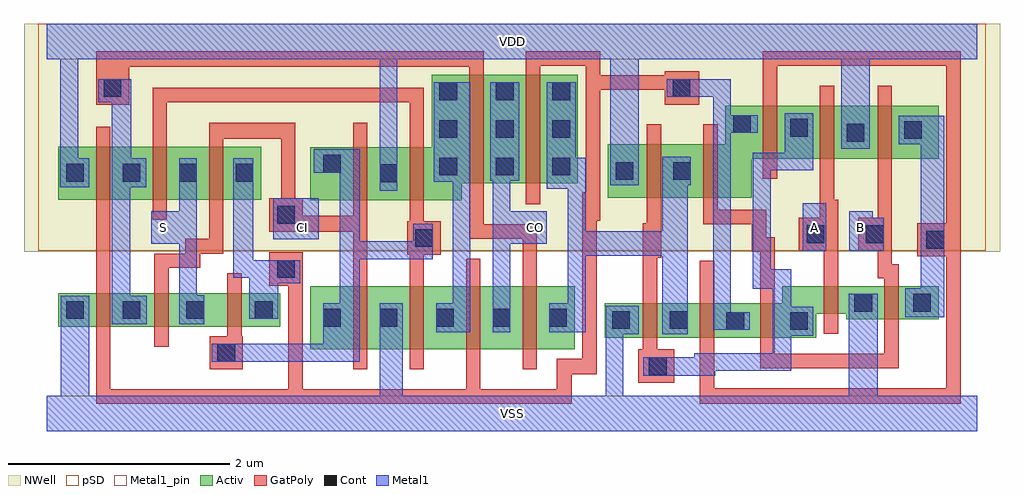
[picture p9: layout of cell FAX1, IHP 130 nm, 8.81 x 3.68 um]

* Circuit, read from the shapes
.subckt FAX1 A B CI CO S VDD VSS
XM1 n1 n2 VSS VSUBS sg13_lv_nmos w=0.3u l=0.13u
XM2 S CI n1 VSUBS sg13_lv_nmos w=0.3u l=0.13u
XM3 n2 n3 S VSUBS sg13_lv_nmos w=0.3u l=0.13u
XM4 VSS CI n3 VSUBS sg13_lv_nmos w=0.57u l=0.13u
XM5 n4 n3 VSS VSUBS sg13_lv_nmos w=0.57u l=0.13u
XM6 CO n2 n4 VSUBS sg13_lv_nmos w=0.57u l=0.13u
XM7 n5 n1 CO VSUBS sg13_lv_nmos w=0.57u l=0.13u
XM8 n5 n6 VSS VSUBS sg13_lv_nmos w=0.31u l=0.13u
XM9 n2 n7 n5 VSUBS sg13_lv_nmos w=0.31u l=0.13u
XM10 n6 B n2 VSUBS sg13_lv_nmos w=0.31u l=0.13u
XM11 VSS A n6 VSUBS sg13_lv_nmos w=0.25u l=0.13u
XM12 n7 B VSS VSUBS sg13_lv_nmos w=0.3u l=0.13u
XM13 n1 n2 VDD n8 sg13_lv_pmos w=0.48u l=0.13u
XM14 S n3 n1 n8 sg13_lv_pmos w=0.48u l=0.13u
XM15 n2 CI S n8 sg13_lv_pmos w=0.48u l=0.13u
XM16 VDD CI n3 n8 sg13_lv_pmos w=0.48u l=0.13u
XM17 n4 n3 VDD n8 sg13_lv_pmos w=0.48u l=0.13u
XM18 CO n1 n4 n8 sg13_lv_pmos w=0.98u l=0.13u
XM19 n5 n2 CO n8 sg13_lv_pmos w=0.98u l=0.13u
XM20 n5 n6 VDD n8 sg13_lv_pmos w=0.48u l=0.13u
XM21 n2 B n5 n8 sg13_lv_pmos w=0.48u l=0.13u
XM22 n6 n7 n2 n8 sg13_lv_pmos w=0.48u l=0.13u
XM23 VDD A n6 n8 sg13_lv_pmos w=0.48u l=0.13u
XM24 n7 B VDD n8 sg13_lv_pmos w=0.48u l=0.13u
.ends

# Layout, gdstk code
import gdstk
lib = gdstk.Library(unit=1e-6, precision=1e-09)
def R(c, l, rs):  # rectangles x0, y0, x1, y1
    for r in rs: c.add(gdstk.rectangle(r[:2], r[2:], *l))
def A(c, l, x, y, w, h, nx, ny, dx, dy):  # array of equal rectangles
    R(c, l, [(x+i*dx, y+j*dy, x+i*dx+w, y+j*dy+h) for i in range(nx) for j in range(ny)])
def P(c, l, *ps):  # polygons
    for p in ps: c.add(gdstk.Polygon(p, *l))
Activ = (1, 0)
GatPoly = (5, 0)
Cont = (6, 0)
Metal1 = (8, 0)
Metal1_pin = (8, 2)
pSD = (14, 0)
NWell = (31, 0)

fax1 = lib.new_cell('FAX1')
R(fax1, Activ, [(2.38,0.58,4.765,1.15), (0.105,0.785,2.11,1.085), (0.105,1.93,1.935,2.41)])
P(fax1, Activ, [(8.05,1.15),(6.64,1.15),(6.64,0.995),(5.035,0.995),(5.035,0.685),(6.945,0.685),(6.945,0.9),(7.215,0.9),(7.215,0.85),(8.05,0.85)],
  [(8.05,2.78),(6.125,2.78),(6.125,2.43),(5.065,2.43),(5.065,1.95),(6.365,1.95),(6.365,2.3),(8.05,2.3)],
  [(4.795,3.06),(3.475,3.06),(3.475,2.405),(2.38,2.405),(2.38,1.925),(3.745,1.925),(3.745,2.08),(4.795,2.08)])
P(fax1, GatPoly, [(8.25,3.27),(6.465,3.27),(6.465,2.12),(6.595,2.12),(6.595,3.14),(8.12,3.14),(8.12,1.72),(7.86,1.72),(7.86,1.42),(8.12,1.42),(8.12,0.23),(6.025,0.23),(6.025,1.38),(5.895,1.38),(5.895,0.09),(8.25,0.09)],
  [(7.69,1.35),(7.63,1.35),(7.63,2.96),(7.5,2.96),(7.5,1.77),(7.325,1.77),(7.325,1.47),(7.5,1.47),(7.5,1.22),(7.56,1.22),(7.56,0.54),(6.57,0.54),(6.57,1.59),(6.495,1.59),(6.495,1.84),(6.055,1.84),(6.055,2.61),(5.925,2.61),(5.925,1.71),(6.365,1.71),(6.365,1.46),(6.44,1.46),(6.44,0.41),(7.69,0.41)],
  [(7.145,1.93),(7.11,1.93),(7.11,2.96),(6.98,2.96),(6.98,1.77),(6.79,1.77),(6.79,1.47),(7.015,1.47),(7.015,0.72),(7.145,0.72)],
  [(5.89,3.09),(5.58,3.09),(5.58,3.055),(4.995,3.055),(4.995,3.27),(4.325,3.27),(4.325,1.89),(4.455,1.89),(4.455,3.14),(4.865,3.14),(4.865,2),(4.835,2),(4.835,0.495),(4.605,0.495),(4.605,0.22),(3.915,0.22),(3.915,1.4),(3.785,1.4),(3.785,0.22),(2.31,0.22),(2.31,1.455),(2.01,1.455),(2.01,1.155),(2.18,1.155),(2.18,0.22),(0.575,0.22),(0.575,2.59),(0.445,2.59),(0.445,0.09),(4.74,0.09),(4.74,0.355),(4.965,0.355),(4.965,1.74),(4.995,1.74),(4.995,2.925),(5.58,2.925),(5.58,2.79),(5.89,2.79)],
  [(5.665,0.58),(5.51,0.58),(5.51,1.405),(5.545,1.405),(5.545,2.61),(5.415,2.61),(5.415,1.72),(5.38,1.72),(5.38,0.58),(5.34,0.58),(5.34,0.28),(5.665,0.28)],
  [(4.425,1.71),(3.945,1.71),(3.945,3.27),(0.445,3.27),(0.445,2.79),(0.745,2.79),(0.745,3.13),(3.815,3.13),(3.815,1.58),(4.295,1.58),(4.295,0.4),(4.425,0.4)],
  [(3.555,1.735),(3.405,1.735),(3.405,2.94),(0.955,2.94),(0.955,1.75),(1.085,1.75),(1.085,2.81),(3.275,2.81),(3.275,1.735),(3.255,1.735),(3.255,1.435),(3.275,1.435),(3.275,0.4),(3.405,0.4),(3.405,1.435),(3.555,1.435)],
  [(2.895,2.625),(2.765,2.625),(2.765,1.785),(2.31,1.785),(2.31,1.945),(2.245,1.945),(2.245,2.625),(1.465,2.625),(1.465,1.58),(1.25,1.58),(1.25,1.445),(0.97,1.445),(0.97,0.605),(1.1,0.605),(1.1,1.315),(1.385,1.315),(1.385,1.445),(1.595,1.445),(1.595,2.48),(2.115,2.48),(2.115,1.945),(2.01,1.945),(2.01,1.64),(2.765,1.64),(2.765,0.4),(2.895,0.4)],
  [(1.77,0.7),(1.76,0.7),(1.76,1.265),(1.63,1.265),(1.63,0.7),(1.47,0.7),(1.47,0.4),(1.77,0.4)])
A(fax1, Cont, 2.495, 0.785, 0.16, 0.16, 5, 1, 0.51, 0)
A(fax1, Cont, 0.175, 2.095, 0.16, 0.16, 4, 1, 0.51, 0)
A(fax1, Cont, 3.545, 2.15, 0.16, 0.16, 3, 3, 0.51, 0.34)
R(fax1, Cont, [(5.435,0.35,5.595,0.51), (1.54,0.47,1.7,0.63), (6.135,0.755,6.295,0.915), (6.71,0.755,6.87,0.915), (5.105,0.765,5.265,0.925), (5.625,0.765,5.785,0.925), (0.175,0.855,0.335,1.015), (0.685,0.855,0.845,1.015), (1.26,0.855,1.42,1.015), (1.88,0.855,2.04,1.015), (7.29,0.92,7.45,1.08), (7.82,0.92,7.98,1.08), (2.08,1.225,2.24,1.385), (7.94,1.49,8.1,1.65), (3.325,1.505,3.485,1.665), (6.86,1.54,7.02,1.7), (7.395,1.54,7.555,1.7), (2.08,1.715,2.24,1.875), (3.005,2.09,3.165,2.25), (5.135,2.11,5.295,2.27), (5.655,2.11,5.815,2.27), (2.495,2.175,2.655,2.335), (7.22,2.455,7.38,2.615), (7.74,2.48,7.9,2.64), (6.71,2.5,6.87,2.66), (6.195,2.535,6.355,2.695), (0.515,2.86,0.675,3.02), (5.65,2.86,5.81,3.02)])
R(fax1, Metal1, [(6.825,1.47,7.035,1.9), (2.045,1.575,2.455,1.945)])
P(fax1, Metal1, [(8.4,0.16),(7.5,0.16),(7.5,1.08),(7.24,1.08),(7.24,0.16),(5.205,0.16),(5.205,0.715),(5.345,0.715),(5.345,0.975),(5.045,0.975),(5.045,0.16),(3.215,0.16),(3.215,0.995),(3.005,0.995),(3.005,0.16),(0.385,0.16),(0.385,1.065),(0.125,1.065),(0.125,0.16),(0,0.16),(0,-0.16),(8.4,-0.16)],
  [(8.4,3.52),(0,3.52),(0,3.2),(0.12,3.2),(0.12,2.045),(0.385,2.045),(0.385,2.305),(0.285,2.305),(0.285,3.2),(3.005,3.2),(3.005,2.01),(3.165,2.01),(3.165,3.2),(5.085,3.2),(5.085,2.06),(5.345,2.06),(5.345,3.2),(7.17,3.2),(7.17,2.39),(7.43,2.39),(7.43,3.2),(8.4,3.2)],
  [(8.1,2.69),(7.69,2.69),(7.69,2.43),(7.89,2.43),(7.89,1.13),(7.75,1.13),(7.75,0.87),(8.1,0.87)],
  [(7.555,1.77),(7.455,1.77),(7.455,1.825),(7.245,1.825),(7.245,1.47),(7.555,1.47)],
  [(6.92,0.965),(6.72,0.965),(6.72,1.305),(6.535,1.305),(6.535,2.195),(6.92,2.195),(6.92,2.71),(6.66,2.71),(6.66,2.355),(6.375,2.355),(6.375,1.125),(6.555,1.125),(6.555,0.545),(5.845,0.545),(5.845,0.51),(5.385,0.51),(5.385,0.34),(6.035,0.34),(6.035,0.385),(6.72,0.385),(6.72,0.705),(6.92,0.705)],
  [(6.42,2.695),(6.175,2.695),(6.175,3.02),(5.595,3.02),(5.595,2.86),(6.015,2.86),(6.015,0.755),(6.345,0.755),(6.345,0.915),(6.175,0.915),(6.175,2.535),(6.42,2.535)],
  [(5.815,2.32),(5.555,2.32),(5.555,1.645),(4.865,1.645),(4.865,2.31),(4.775,2.31),(4.775,2.99),(4.515,2.99),(4.515,2.03),(4.705,2.03),(4.705,0.995),(4.535,0.995),(4.535,0.735),(4.865,0.735),(4.865,1.425),(5.555,1.425),(5.555,0.715),(5.785,0.715),(5.785,2.06),(5.815,2.06)],
  [(4.515,1.825),(4.185,1.825),(4.185,2.1),(4.265,2.1),(4.265,2.99),(4.005,2.99),(4.005,2.1),(4.025,2.1),(4.025,0.735),(4.185,0.735),(4.185,1.535),(4.515,1.535)],
  [(3.825,2.99),(3.495,2.99),(3.495,2.095),(3.665,2.095),(3.665,0.995),(3.515,0.995),(3.515,0.735),(3.825,0.735)],
  [(3.485,1.715),(3.31,1.715),(3.31,1.555),(2.825,1.555),(2.825,2.385),(2.41,2.385),(2.41,2.175),(2.645,2.175),(2.645,0.995),(2.495,0.995),(2.495,0.63),(1.49,0.63),(1.49,0.47),(2.825,0.47),(2.825,1.395),(3.485,1.395)],
  [(2.29,1.385),(1.865,1.385),(1.865,2.305),(1.685,2.305),(1.685,1.225),(1.83,1.225),(1.83,0.855),(2.09,0.855),(2.09,1.175),(2.29,1.175)],
  [(1.42,1.07),(1.355,1.07),(1.355,2.305),(1.195,2.305),(1.195,1.825),(0.945,1.825),(0.945,1.535),(1.195,1.535),(1.195,0.805),(1.42,0.805)],
  [(0.905,1.065),(0.755,1.065),(0.755,2.045),(0.9,2.045),(0.9,2.305),(0.765,2.305),(0.765,3.02),(0.465,3.02),(0.465,2.81),(0.585,2.81),(0.585,0.805),(0.905,0.805)])
R(fax1, Metal1_pin, [(0,-0.16,8.4,0.16), (6.825,1.47,7.035,1.9), (2.045,1.575,2.455,1.945), (0,3.2,8.4,3.52)])
P(fax1, Metal1_pin, [(7.555,1.77),(7.455,1.77),(7.455,1.825),(7.245,1.825),(7.245,1.47),(7.555,1.47)],
  [(4.515,1.825),(4.185,1.825),(4.185,2.1),(4.265,2.1),(4.265,2.99),(4.005,2.99),(4.005,2.1),(4.025,2.1),(4.025,0.735),(4.185,0.735),(4.185,1.535),(4.515,1.535)],
  [(1.42,1.07),(1.355,1.07),(1.355,2.305),(1.195,2.305),(1.195,1.825),(0.945,1.825),(0.945,1.535),(1.195,1.535),(1.195,0.805),(1.42,0.805)])
R(fax1, pSD, [(-0.075,1.47,8.475,3.52)])
R(fax1, NWell, [(-0.205,1.46,8.605,3.52)])
fax1.add(gdstk.Label('A', (6.93,1.68), layer=8, texttype=25))
fax1.add(gdstk.Label('B', (7.35,1.68), layer=8, texttype=25))
fax1.add(gdstk.Label('S', (1.05,1.68), layer=8, texttype=25))
fax1.add(gdstk.Label('CO', (4.41,1.68), layer=8, texttype=25))
fax1.add(gdstk.Label('CI', (2.31,1.68), layer=8, texttype=25))
fax1.add(gdstk.Label('VDD', (4.2,3.36), layer=8, texttype=25))
fax1.add(gdstk.Label('VSS', (4.2,0), layer=8, texttype=25))

lib.write_gds('FAX1.gds')
